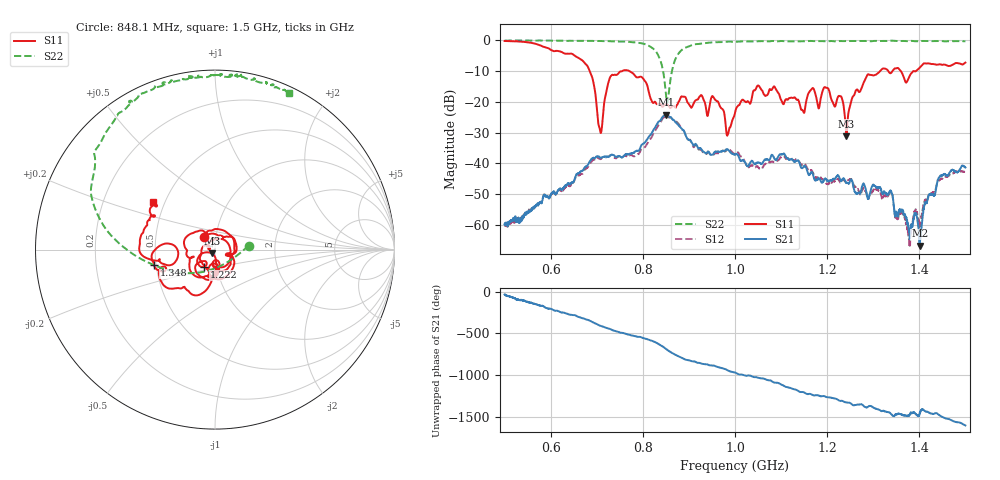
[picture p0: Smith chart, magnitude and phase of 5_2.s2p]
!Agilent Technologies,E8364B,US42250235,A.06.04.32
!Agilent E8364B: A.06.04.32
!Date: Thursday, October 01, 2020 11:05:16
!Correction: S11(Full 2 Port(1,2)) S21(Full 2 Port(1,2)) S12(Full 2 Port(1,2)) S22(Full 2 Port(1,2))
!S2P File: Measurements: S11, S21, S12, S22:
# Hz S  dB  R 50
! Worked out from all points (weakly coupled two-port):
!   2650 points, 500 MHz to 1.5 GHz, reference 50 ohm
!   highest |S21| = -24.16 dB at 850.7 MHz (marker M1); lowest = -66.7 dB at 1.401 GHz (marker M2)
!   lowest |S11| = -31.2 dB at 1.242 GHz (marker M3), VSWR 1.06, Z = 48.3 - j2.09 ohm
!   |S11| at or under -10 dB: 684.6 MHz to 755.3 MHz (70.69 MHz wide, 9.82 % of centre); 770.6 MHz to 1.315 GHz (544.6 MHz wide, 52.2 % of centre); 1.36 GHz to 1.387 GHz (27.41 MHz wide, 2 % of centre) (the widest 3 of 5)
!   |S22| runs from -20.5 to -0.1 dB; largest |S21 - S12| = 0.017
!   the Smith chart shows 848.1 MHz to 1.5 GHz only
!   S11 on the Smith chart (normalised r, x): 848.1 MHz: 0.88, +0.12; 1.222 GHz: 0.87, -0.17; 1.348 GHz: 0.49, -0.10; 1.5 GHz: 0.43, +0.28
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5e8  -0.22 -174.9  -59.82 -32.9  -60.10 -43.2  -0.08 138.5
5.773877e8  -1.64 134.2  -52.67 -166.3  -52.64 -161.1  -0.06 131.9
6.668554e8  -6.34 63.8  -42.49 46.0  -43.37 50.6  -0.19 120.0
7.07248e8  -29.38 67.1  -38.12 -47.7  -38.64 -37.8  -0.23 116.6
7.276331e8  -12.53 125.6  -37.73 -84.6  -37.54 -77.3  -0.29 112.6
7.540581e8  -10.08 78.5  -38.12 -133.1  -38.26 -125.8  -0.41 106.8
8.337108e8  -20.67 -106.0  -26.53 92.9  -27.60 108.3  -4.99 50.5
8.480559e8  -20.88 131.0  -24.28 42.3  -24.82 58.1  -14.49 6.7
8.506984e8  -20.74 115.1  -24.16 31.5  -24.65 47.3  -18.60 -21.4
8.88071e8  -18.31 13.4  -29.21 -83.1  -29.24 -71.4  -2.72 158.7
9.545111e8  -18.75 -115.1  -36.49 -167.9  -36.96 -158.4  -0.63 125.4
9.850887e8  -30.40 179.0  -35.60 132.7  -35.81 150.5  -0.42 119.5
1.000189e9  -23.53 64.0  -37.20 108.5  -36.81 122.6  -0.47 117.5
1.166667e9  -15.79 -68.3  -42.86 -156.1  -42.38 -142.5  -0.21 99.0
1.222159e9  -18.85 -122.5  -43.93 145.5  -44.99 162.1  -0.30 91.9
1.241789e9  -31.15 -128.8  -46.30 110.4  -45.93 134.7  -0.25 90.7
1.286334e9  -11.50 -109.0  -50.31 49.7  -50.60 64.1  -0.23 88.5
1.333522e9  -10.20 -161.9  -49.83 -7.9  -50.19 12.5  -0.15 81.5
1.347867e9  -9.10 -165.6  -57.02 -33.7  -57.06 -24.9  -0.22 83.3
1.400717e9  -8.90 -170.8  -66.75 -27.8  -60.79 6.3  -0.24 72.9
1.443752e9  -7.80 158.1  -44.39 -44.6  -45.40 -37.5  -0.21 70.5
1.5e9  -7.25 142.3  -41.33 -166.9  -42.57 -148.8  -0.32 64.8
